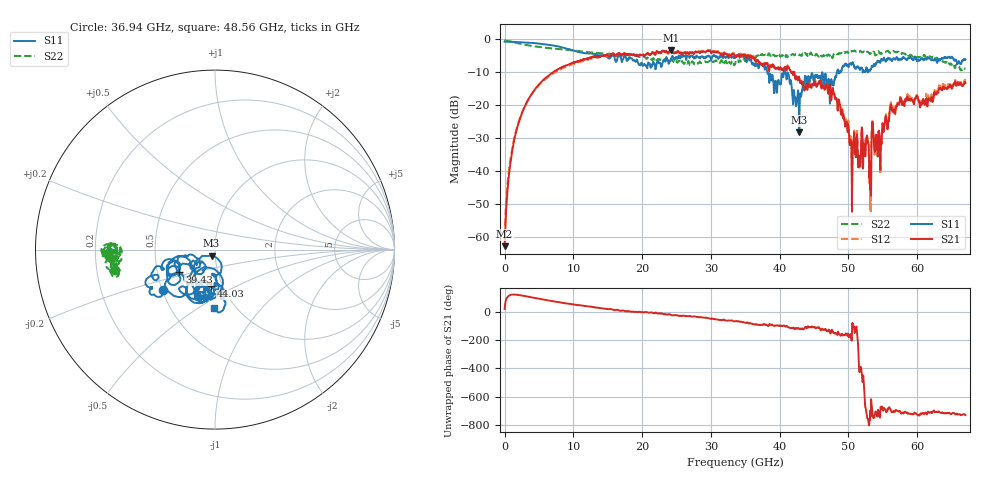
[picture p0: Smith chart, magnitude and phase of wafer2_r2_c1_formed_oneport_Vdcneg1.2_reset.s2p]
!Keysight Technologies,N5227A,US51270248,A.10.65.08
!Date: Tuesday, June 11, 2024 08:06:44
!Correction: S11(Full 2 Port(1,4))
!S41(Full 2 Port(1,4))
!S14(Full 2 Port(1,4))
!S44(Full 2 Port(1,4))
!S2P File: Measurements: S11, S41, S14, S44:
# Hz S  dB  R 50
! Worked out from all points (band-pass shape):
!   3201 points, 10 MHz to 67 GHz, reference 50 ohm
!   highest |S21| = -3.29 dB at 24.19 GHz (marker M1); lowest = -62.7 dB at 10 MHz (marker M2)
!   |S21| within 3 dB of the highest: 11.23 GHz to 36.39 GHz (25.15 GHz wide, 106 % of centre); 36.44443 GHz to 36.55619 GHz (111.8 MHz wide, 0.306 % of centre)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
!   lowest |S11| = -28.2 dB at 42.84 GHz (marker M3), VSWR 1.08, Z = 48 - j3.24 ohm
!   |S11| at or under -10 dB: 38.35 GHz to 40.6 GHz (2.249 GHz wide, 5.7 % of centre); 41.15 GHz to 46.18 GHz (5.035 GHz wide, 11.5 % of centre); 46.2 GHz to 48.33 GHz (2.126 GHz wide, 4.5 % of centre)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
!   |S22| runs from -9.4 to -0.3 dB; largest |S21 - S12| = 0.052
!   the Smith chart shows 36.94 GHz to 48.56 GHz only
!   S11 on the Smith chart (normalised r, x): 36.94 GHz: 0.51, -0.26; 39.43 GHz: 0.65, -0.17; 44.03 GHz: 0.88, -0.38; 48.56 GHz: 0.80, -0.58
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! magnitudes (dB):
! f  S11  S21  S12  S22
! 10 MHz  -0.7  -62.7  -58.6  -0.4
! 1.078 GHz  -0.7  -34.3  -33.3  -0.7
! 2.899 GHz  -0.9  -20.5  -20.5  -1.6
! 11.19 GHz  -4.0  -6.2  -6.7  -3.6
! 22.35 GHz  -6.9  -3.9  -3.9  -6.0
! 24.19 GHz  -5.9  -3.3  -3.3  -6.4
! 33.51 GHz  -5.6  -5.1  -5.1  -7.4
! 36.94 GHz  -8.7  -6.9  -7.1  -4.9
! 39.43 GHz  -12.5  -9.0  -8.9  -5.0
! 40.96 GHz  -11.2  -9.1  -9.0  -4.7
! 42.84 GHz  -28.2  -11.7  -11.4  -4.6
! 44.03 GHz  -13.8  -15.3  -14.6  -4.9
! 44.68 GHz  -10.3  -14.1  -13.6  -4.5
! 47.53 GHz  -12.3  -17.9  -17.4  -4.7
! 48.56 GHz  -9.8  -18.5  -18.1  -4.3
! 50.4 GHz  -7.5  -31.7  -30.6  -3.6
! 52.58 GHz  -8.7  -30.7  -30.2  -4.0
! 53.02 GHz  -9.4  -41.5  -41.8  -4.2
! 53.66 GHz  -7.8  -30.3  -30.3  -3.7
! 54.52 GHz  -6.6  -29.0  -29.3  -4.2
! 55.84 GHz  -5.7  -24.7  -24.2  -3.6
! 67 GHz  -6.1  -13.1  -12.6  -8.8
